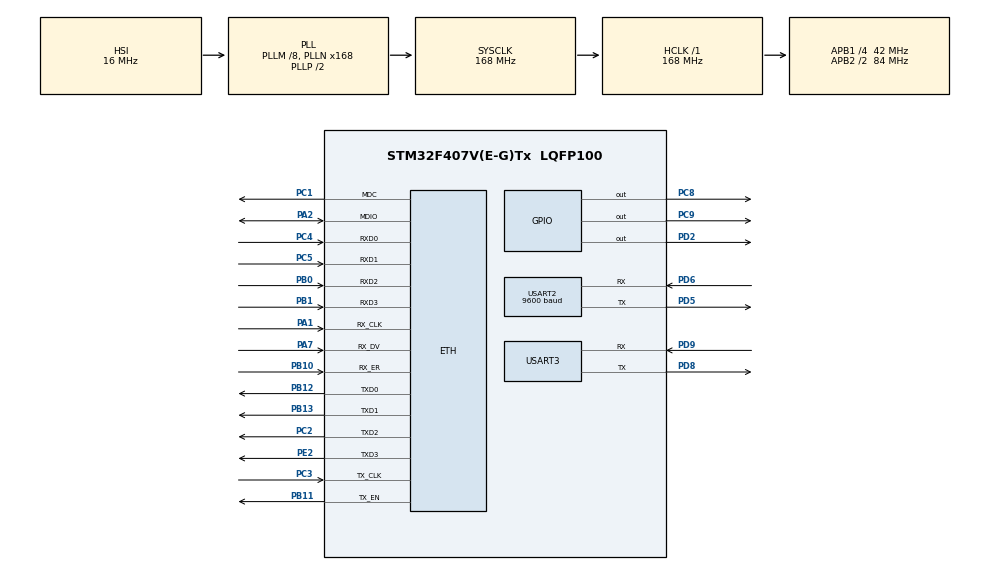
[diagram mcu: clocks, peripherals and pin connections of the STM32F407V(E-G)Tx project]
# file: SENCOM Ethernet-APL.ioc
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ETH.MACAddr=02\:00\:00\:00\:00\:01
ETH.MediaInterface=HAL_ETH_MII_MODE
LWIP.ARP_QUEUEING=1
LWIP.CHECKSUM_BY_HARDWARE=0
LWIP.ETHARP_SUPPORT_STATIC_ENTRIES=1
LWIP.ETHARP_SUPPORT_VLAN=1
LWIP.LWIP_DHCP=0
LWIP.LWIP_RAW=1
LWIP.LWIP_TCP=1
LWIP.LWIP_UDP=1
LWIP.Version=v2.1.2_Cube
Mcu.Family=STM32F4
Mcu.Name=STM32F407V(E-G)Tx
Mcu.Package=LQFP100
NVIC.PriorityGroup=NVIC_PRIORITYGROUP_4
PA1.GPIO_PuPd=GPIO_NOPULL
PA1.Mode=MII Full Duplex Only
PA1.Signal=ETH_RX_CLK
PA13.Mode=Serial_Wire
PA13.Signal=SYS_JTMS-SWDIO
PA14.Mode=Serial_Wire
PA14.Signal=SYS_JTCK-SWCLK
PA2.Mode=MII Full Duplex Only
PA2.Signal=ETH_MDIO
PA7.GPIO_PuPd=GPIO_NOPULL
PA7.Mode=MII Full Duplex Only
PA7.Signal=ETH_RX_DV
PB0.Mode=MII Full Duplex Only
PB0.Signal=ETH_RXD2
PB1.Mode=MII Full Duplex Only
PB1.Signal=ETH_RXD3
PB10.GPIO_PuPd=GPIO_NOPULL
PB10.Mode=Activate Rx Err signal
PB10.Signal=ETH_RX_ER
PB11.Mode=MII Full Duplex Only
PB11.Signal=ETH_TX_EN
PB12.Mode=MII Full Duplex Only
PB12.Signal=ETH_TXD0
PB13.Mode=MII Full Duplex Only
PB13.Signal=ETH_TXD1
PC1.Mode=MII Full Duplex Only
PC1.Signal=ETH_MDC
PC2.Mode=MII Full Duplex Only
PC2.Signal=ETH_TXD2
PC3.Mode=MII Full Duplex Only
PC3.Signal=ETH_TX_CLK
PC4.Mode=MII Full Duplex Only
PC4.Signal=ETH_RXD0
PC5.Mode=MII Full Duplex Only
PC5.Signal=ETH_RXD1
PC8.Signal=GPIO_Output
PC9.GPIO_Speed=GPIO_SPEED_FREQ_MEDIUM
PC9.Signal=GPIO_Output
PD2.Signal=GPIO_Output
PD5.Mode=Asynchronous
PD5.Signal=USART2_TX
PD6.Mode=Asynchronous
PD6.Signal=USART2_RX
PD8.Mode=Asynchronous
PD8.Signal=USART3_TX
PD9.Mode=Asynchronous
PD9.Signal=USART3_RX
PE2.Mode=MII Full Duplex Only
PE2.Signal=ETH_TXD3
ProjectManager.HeapSize=0x200
ProjectManager.StackSize=0x400
ProjectManager.TargetToolchain=STM32CubeIDE
RCC.48MHZClocksFreq_Value=84000000
RCC.AHBFreq_Value=168000000
RCC.APB1CLKDivider=RCC_HCLK_DIV4
RCC.APB1Freq_Value=42000000
RCC.APB1TimFreq_Value=84000000
RCC.APB2CLKDivider=RCC_HCLK_DIV2
RCC.APB2Freq_Value=84000000
RCC.APB2TimFreq_Value=168000000
RCC.CortexFreq_Value=168000000
RCC.HCLKFreq_Value=168000000
RCC.HSE_VALUE=25000000
RCC.HSI_VALUE=16000000
RCC.LSE_VALUE=32768
RCC.PLLM=8
RCC.PLLN=168
RCC.SYSCLKFreq_VALUE=168000000
RCC.SYSCLKSource=RCC_SYSCLKSOURCE_PLLCLK
RCC.VCOOutputFreq_Value=336000000
USART2.BaudRate=9600
USART2.Parity=PARITY_EVEN
USART2.VirtualMode=VM_ASYNC
USART2.WordLength=WORDLENGTH_9B
USART3.VirtualMode=VM_ASYNC
VP_LWIP_VS_Enabled.Mode=Enabled
board=custom

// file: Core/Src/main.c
/* USER CODE BEGIN Header */
/**
  ******************************************************************************
  * @file           : main.c
  * @brief          : Main program body
  ******************************************************************************
  * @attention
  *
  * Copyright (c) 2025 STMicroelectronics.
  * All rights reserved.
  *
  * This software is licensed under terms that can be found in the LICENSE file
  * in the root directory of this software component.
  * If no LICENSE file comes with this software, it is provided AS-IS.
  *
  ******************************************************************************
  */
/* USER CODE END Header */
#include "main.h"
#include "lwip.h"
#include "modbus_client.h"
#include "retarget.h"
#include <string.h>
#include <stdio.h>

/* USER CODE BEGIN PD */
#define SERVER_PORT 8888
#define ADIN1100_RESET_GPIO_Port GPIOD
#define ADIN1100_RESET_Pin GPIO_PIN_2
/* USER CODE END PD */

UART_HandleTypeDef huart2;
UART_HandleTypeDef huart3;

uint16_t tcp_request_len = 0;

static uint8_t connected = 0;
static uint8_t tcp_callback = 0;
volatile uint8_t processing_tx = 0;

static struct tcp_pcb *client_pcb;
static ip_addr_t server_ip;

void SystemClock_Config(void);
static void MX_GPIO_Init(void);
static void MX_USART2_UART_Init(void);
static void MX_USART3_UART_Init(void);

int main(void)
{

  /* USER CODE BEGIN 1 */
  extern struct netif gnetif;
  //extern uint16_t rx_count;
  static uint8_t link_ready = 0;
  /* USER CODE END 1 */

  /* MCU Configuration--------------------------------------------------------*/

  /* Reset of all peripherals, Initializes the Flash interface and the Systick. */
  HAL_Init();

  /* Configure the system clock */
  SystemClock_Config();

  /* Initialize all configured peripherals */
  MX_GPIO_Init();

  ADIN1100_HardwareReset();

  MX_USART2_UART_Init();
  MX_USART3_UART_Init();
  MX_LWIP_Init();

  /* Startup message*/
  printf("STM32 Modbus RTU over TCP client starting...\r\n");
  printf("Using MAC: %02X:%02X:%02X:%02X:%02X:%02X\r\n", gnetif.hwaddr[0], gnetif.hwaddr[1], gnetif.hwaddr[2], gnetif.hwaddr[3], gnetif.hwaddr[4], gnetif.hwaddr[5]);
  printf("STM32 IP: %s\r\n", ipaddr_ntoa(&gnetif.ip_addr));
  //char* m_ptr = "STM32 Modbus RTU over TCP client starting...\r\n";
  //uint16_t len = strlen(m_ptr);
  //HAL_UART_Transmit(&huart3, m_ptr, len, HAL_MAX_DELAY);

  uint32_t last_link_check = 0;
  /* Main Loop ---------------------------------------------------------------*/
  /* USER CODE BEGIN WHILE */
  printf("PCLK2: %lu\n", HAL_RCC_GetPCLK2Freq()); // should be 84000000
  while(1)
  {
	  // Check if the network interface is up and connected once
	  ethernetif_input(&gnetif);

	  // Check link every 1000ms
	  if (HAL_GetTick() - last_link_check > 1000)
	  {
		  ethernet_link_check_state(&gnetif);
		  last_link_check = HAL_GetTick();
	  }

	  if (netif_is_link_up(&gnetif) && !link_ready)
	  {
		  printf(">> Ethernet link is UP, Sending ARP and trying to connect...\r\n");
		  etharp_gratuitous(&gnetif); // Send APR
		  tcp_client_connect(); // Connect only once
		  connected = 1;
		  link_ready = 1;
	  }

	  if (tcp_callback)
	  {
		  printf("Sending function code request to SA11...");
		  HAL_Delay(1000);
		  int result = Modbus_send(&huart2, tcp_request_len);
		  if (result < 0)
		  {
			  printf("[RS485] Modbus_send failed with code: %d\r\n", result);
			  tcp_callback = 0;
			  processing_tx = 0;
			  continue; // prevent broken tcp_write
		  }

		  // Send RTU response back to TCP server
		  tcp_write(client_pcb, uart_rx_buffer, result, TCP_WRITE_FLAG_COPY);
		  tcp_output(client_pcb);

		  printf("[RS485->TCP] Sending response back to host...\r\n");

		  tcp_callback = 0;
		  processing_tx = 0;

	  }

	  /* Handle LwIP timeouts */
	  sys_check_timeouts(); // Must call this function to let lwIP run
    /* USER CODE END WHILE */
  }
}

void SystemClock_Config(void)
{
  RCC_OscInitTypeDef RCC_OscInitStruct = {0};
  RCC_ClkInitTypeDef RCC_ClkInitStruct = {0};

  /** Configure the main internal regulator output voltage
  */
  __HAL_RCC_PWR_CLK_ENABLE();
  __HAL_PWR_VOLTAGESCALING_CONFIG(PWR_REGULATOR_VOLTAGE_SCALE1);

  /** Initializes the RCC Oscillators according to the specified parameters
  * in the RCC_OscInitTypeDef structure.
  */
  RCC_OscInitStruct.OscillatorType = RCC_OSCILLATORTYPE_HSI;
  RCC_OscInitStruct.HSIState = RCC_HSI_ON;
  RCC_OscInitStruct.HSICalibrationValue = RCC_HSICALIBRATION_DEFAULT;
  RCC_OscInitStruct.PLL.PLLState = RCC_PLL_ON;
  RCC_OscInitStruct.PLL.PLLSource = RCC_PLLSOURCE_HSI;
  RCC_OscInitStruct.PLL.PLLM = 8;
  RCC_OscInitStruct.PLL.PLLN = 168;
  RCC_OscInitStruct.PLL.PLLP = RCC_PLLP_DIV2;
  RCC_OscInitStruct.PLL.PLLQ = 4;
  if (HAL_RCC_OscConfig(&RCC_OscInitStruct) != HAL_OK)
  {
    Error_Handler();
  }

  /** Initializes the CPU, AHB and APB buses clocks
  */
  RCC_ClkInitStruct.ClockType = RCC_CLOCKTYPE_HCLK|RCC_CLOCKTYPE_SYSCLK
                              |RCC_CLOCKTYPE_PCLK1|RCC_CLOCKTYPE_PCLK2;
  RCC_ClkInitStruct.SYSCLKSource = RCC_SYSCLKSOURCE_PLLCLK;
  RCC_ClkInitStruct.AHBCLKDivider = RCC_SYSCLK_DIV1;
  RCC_ClkInitStruct.APB1CLKDivider = RCC_HCLK_DIV4;
  RCC_ClkInitStruct.APB2CLKDivider = RCC_HCLK_DIV2;

  if (HAL_RCC_ClockConfig(&RCC_ClkInitStruct, FLASH_LATENCY_5) != HAL_OK)
  {
    Error_Handler();
  }
}

static void MX_USART2_UART_Init(void)
{

	huart2.Instance = USART2;
	huart2.Init.BaudRate = 9600;
	huart2.Init.WordLength = UART_WORDLENGTH_9B;
	huart2.Init.StopBits = UART_STOPBITS_1;
	huart2.Init.Parity = UART_PARITY_EVEN;
	huart2.Init.Mode = UART_MODE_TX_RX;
	huart2.Init.HwFlowCtl = UART_HWCONTROL_NONE;
	huart2.Init.OverSampling = UART_OVERSAMPLING_16;
	if (HAL_UART_Init(&huart2) != HAL_OK)
	{
	Error_Handler();
	}

}

static void MX_USART3_UART_Init(void)
{

  huart3.Instance = USART3;
  huart3.Init.BaudRate = 115200;
  huart3.Init.WordLength = UART_WORDLENGTH_8B;
  huart3.Init.StopBits = UART_STOPBITS_1;
  huart3.Init.Parity = UART_PARITY_NONE;
  huart3.Init.Mode = UART_MODE_TX_RX;
  huart3.Init.HwFlowCtl = UART_HWCONTROL_NONE;
  huart3.Init.OverSampling = UART_OVERSAMPLING_16;
  if (HAL_UART_Init(&huart3) != HAL_OK)
  {
    Error_Handler();
  }

}

static void MX_GPIO_Init(void)
{
  GPIO_InitTypeDef GPIO_InitStruct = {0};

  /* GPIO Ports Clock Enable */
  __HAL_RCC_GPIOE_CLK_ENABLE();
  __HAL_RCC_GPIOC_CLK_ENABLE();
  __HAL_RCC_GPIOA_CLK_ENABLE();
  __HAL_RCC_GPIOB_CLK_ENABLE();
  __HAL_RCC_GPIOD_CLK_ENABLE();

  /*Configure GPIO pin Output Level */
  HAL_GPIO_WritePin(GPIOC, GPIO_PIN_9, GPIO_PIN_SET);
  HAL_GPIO_WritePin(GPIOC, GPIO_PIN_8, GPIO_PIN_SET);
  HAL_GPIO_WritePin(ADIN1100_RESET_GPIO_Port, ADIN1100_RESET_Pin, GPIO_PIN_SET);
  /*Configure GPIO pin : PC9 */
  GPIO_InitStruct.Pin = GPIO_PIN_9;
  GPIO_InitStruct.Mode = GPIO_MODE_OUTPUT_PP;
  GPIO_InitStruct.Pull = GPIO_NOPULL;
  GPIO_InitStruct.Speed = GPIO_SPEED_FREQ_MEDIUM;
  HAL_GPIO_Init(GPIOC, &GPIO_InitStruct);

  /*Configure GPIO pin : PC8 */
  GPIO_InitStruct.Pin = GPIO_PIN_8;
  GPIO_InitStruct.Mode = GPIO_MODE_OUTPUT_PP;
  GPIO_InitStruct.Pull = GPIO_NOPULL;
  GPIO_InitStruct.Speed = GPIO_SPEED_FREQ_MEDIUM;
  HAL_GPIO_Init(GPIOC, &GPIO_InitStruct);

  /* USER CODE BEGIN MX_GPIO_Init_2 */
  /* Configure GPIO pin : PD2 */
  GPIO_InitStruct.Pin = ADIN1100_RESET_Pin;
  GPIO_InitStruct.Mode = GPIO_MODE_OUTPUT_PP;
  GPIO_InitStruct.Pull = GPIO_NOPULL;
  GPIO_InitStruct.Speed = GPIO_SPEED_FREQ_LOW;
  HAL_GPIO_Init(ADIN1100_RESET_GPIO_Port, &GPIO_InitStruct);
  /* USER CODE END MX_GPIO_Init_2 */
}

/* USER CODE BEGIN 4 */
/* ADIN1100 Hardware Reset */
void ADIN1100_HardwareReset(void)
{
	printf("[PHY] Resetting ADIN1100 via PD2...\r\n");
	HAL_GPIO_WritePin(ADIN1100_RESET_GPIO_Port, ADIN1100_RESET_Pin, GPIO_PIN_RESET);
	HAL_Delay(20); // Hold low for >10µs
	HAL_GPIO_WritePin(ADIN1100_RESET_GPIO_Port, ADIN1100_RESET_Pin, GPIO_PIN_SET);
	HAL_Delay(100); // Wait for PLL and link init
	printf("[PHY] Reset complete.\r\n");
}

/* TCP Data Received Callback */
err_t tcp_recv_callback(void *arg, struct tcp_pcb *tpcb, struct pbuf *p, err_t err)
{
	if (processing_tx) return ERR_INPROGRESS;

	if (!p)
	{
		tcp_close(tpcb);
		return ERR_OK;
	}

	uint16_t len = p->len;
	if (len > UART_BUFFER_LEN) len = UART_BUFFER_LEN;

	memcpy(uart_tx_buffer, p->payload, len);
	tcp_request_len = len;

	uint8_t function_code = uart_tx_buffer[1];
	printf("\r\n[TPC->RS485] Received Function code: 0x%02x, Length: %d\r\n", function_code, len);

	tcp_callback = 1;
	processing_tx = 1;

	pbuf_free(p); // free the pbuf after processing

	return ERR_OK;
}

/* TCP Connect Callback */
err_t tcp_connected_callback(void *arg, struct tcp_pcb *tpcb, err_t err)
{
	if (err != ERR_OK)
	{
		printf("Connection failed with error: %d\r\n", err);
		return err;
	}

	printf("Connected to TCP server.\r\n");

	// Set TCP receive callback
	tcp_recv(tpcb, tcp_recv_callback);
	return ERR_OK;
}

/* public API to connect Client to Server */
void tcp_client_connect(void)
{
	client_pcb = tcp_new();

	if (!client_pcb)
	{
		printf("Failed to create TCP PCB\r\n");
		return;
	}

	IP_ADDR4(&server_ip, 196,168,1,2); // replace with local server IP, for testing use loopback IP
	printf("Connecting to %s:%d...\r\n", ipaddr_ntoa(&server_ip), SERVER_PORT);

	err_t err = tcp_connect(client_pcb, &server_ip, SERVER_PORT, tcp_connected_callback);
	if (err != ERR_OK)
	{
		printf("tcp_connect() failed with code: %d\r\n", err);
	}
}
/* USER CODE END 4 */

void Error_Handler(void)
{
  __disable_irq();
  while (1)
  {
  }
}
